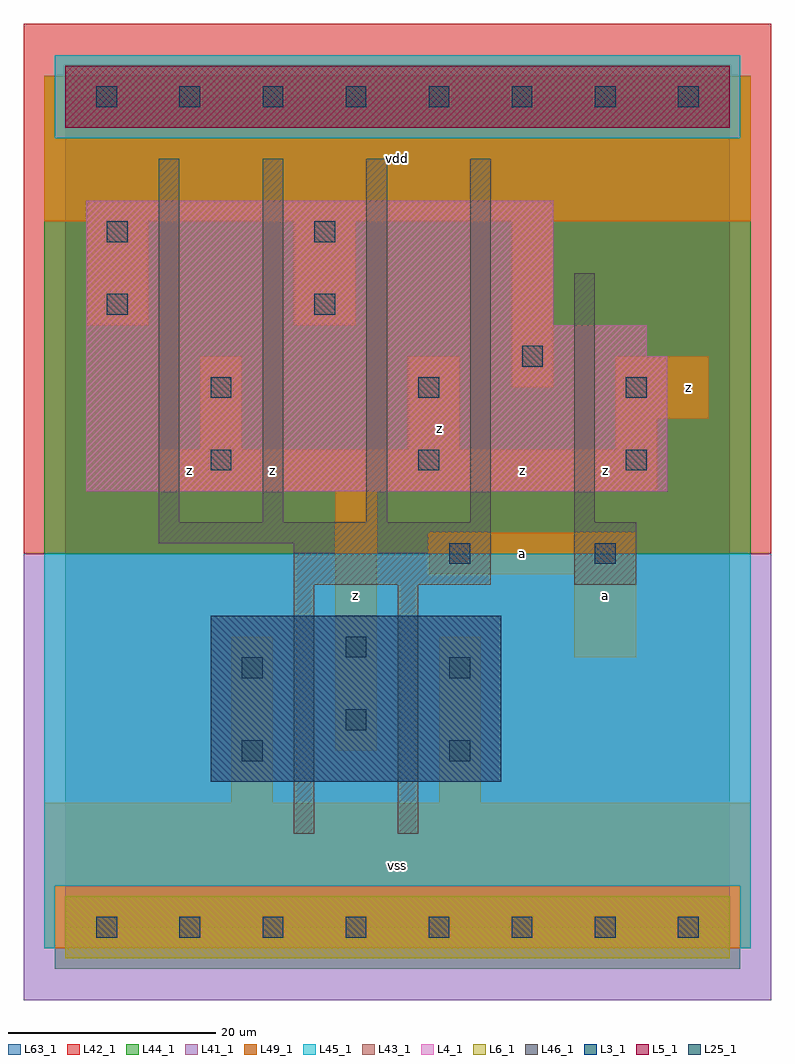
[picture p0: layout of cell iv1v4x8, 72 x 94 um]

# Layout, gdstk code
import gdstk
lib = gdstk.Library(unit=1e-6, precision=1e-09)
def R(c, l, rs):  # rectangles x0, y0, x1, y1
    for r in rs: c.add(gdstk.rectangle(r[:2], r[2:], *l))
def A(c, l, x, y, w, h, nx, ny, dx, dy):  # array of equal rectangles
    R(c, l, [(x+i*dx, y+j*dy, x+i*dx+w, y+j*dy+h) for i in range(nx) for j in range(ny)])
L3_1 = (3, 1)
L4_1 = (4, 1)
L5_1 = (5, 1)
L6_1 = (6, 1)
L25_1 = (25, 1)
L41_1 = (41, 1)
L42_1 = (42, 1)
L43_1 = (43, 1)
L44_1 = (44, 1)
L45_1 = (45, 1)
L46_1 = (46, 1)
L49_1 = (49, 1)
L63_1 = (63, 1)

iv1v4x8 = lib.new_cell('iv1v4x8')
R(iv1v4x8, L3_1, [(14,14,42,30)])
R(iv1v4x8, L4_1, [(2,42,58,55), (2,55,56,58), (2,58,47,70)])
R(iv1v4x8, L5_1, [(0,77,64,83)])
R(iv1v4x8, L6_1, [(0,-3,64,3), (0,-3,64,3)])
A(iv1v4x8, L25_1, 3, -1, 2, 2, 8, 2, 8, 80)
A(iv1v4x8, L25_1, 14, 44, 2, 2, 3, 2, 20, 7)
R(iv1v4x8, L25_1, [(17,16,19,18), (37,16,39,18), (27,19,29,21), (17,24,19,26), (37,24,39,26), (27,26,29,28), (37,35,39,37), (51,35,53,37), (44,54,46,56), (4,59,6,61), (24,59,26,61), (4,66,6,68), (24,66,26,68)])
R(iv1v4x8, L41_1, [(-4,-7,68,36)])
R(iv1v4x8, L42_1, [(-4,36,68,87)])
R(iv1v4x8, L43_1, [(0,-3,64,3), (14,14,42,30), (2,42,58,55), (2,55,56,58), (2,58,47,70), (0,77,64,83)])
R(iv1v4x8, L44_1, [(-1,-4,65,4), (-2,36,66,76), (-2,76,-1,82), (65,76,66,82)])
R(iv1v4x8, L45_1, [(-2,-2,-1,4), (65,-2,66,4), (-2,4,66,36), (-1,76,65,84)])
A(iv1v4x8, L46_1, 9, 39, 2, 35, 4, 1, 10, 0)
R(iv1v4x8, L46_1, [(22,9,24,33), (32,9,34,33), (22,33,41,37), (49,33,55,39), (9,37,41,39), (49,39,51,63)])
R(iv1v4x8, L49_1, [(-2,-2,66,12), (16,12,20,28), (36,12,40,28), (26,17,30,42), (49,26,55,34), (35,34,55,38), (9,42,57,46), (13,46,17,55), (33,46,38,55), (53,46,57,49), (53,49,62,55), (43,52,47,68), (2,58,8,68), (22,58,28,68), (-2,68,66,82)])
R(iv1v4x8, L63_1, [(0,0,64,80)])
iv1v4x8.add(gdstk.Label('z', (12,44), layer=49, texttype=1))
iv1v4x8.add(gdstk.Label('z', (28,32), layer=49, texttype=1))
iv1v4x8.add(gdstk.Label('z', (20,44), layer=49, texttype=1))
iv1v4x8.add(gdstk.Label('vss', (32,6), layer=49, texttype=1))
iv1v4x8.add(gdstk.Label('a', (44,36), layer=49, texttype=1))
iv1v4x8.add(gdstk.Label('z', (44,44), layer=49, texttype=1))
iv1v4x8.add(gdstk.Label('z', (36,48), layer=49, texttype=1))
iv1v4x8.add(gdstk.Label('vdd', (32,74), layer=49, texttype=1))
iv1v4x8.add(gdstk.Label('a', (52,32), layer=49, texttype=1))
iv1v4x8.add(gdstk.Label('z', (52,44), layer=49, texttype=1))
iv1v4x8.add(gdstk.Label('z', (60,52), layer=49, texttype=1))

lib.write_gds('iv1v4x8.gds')
